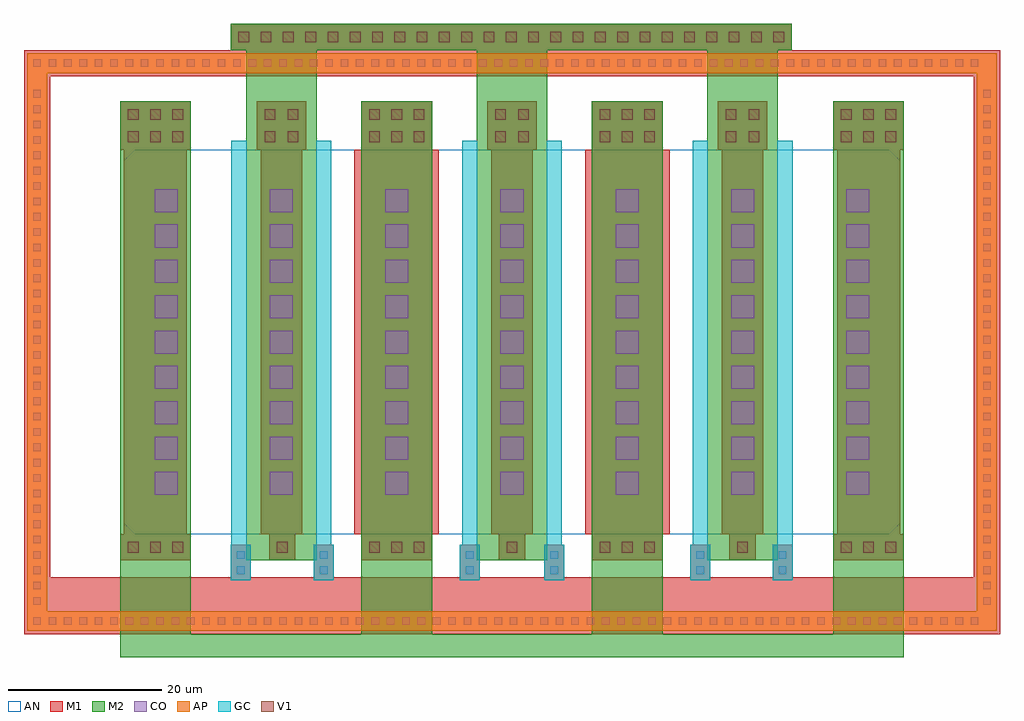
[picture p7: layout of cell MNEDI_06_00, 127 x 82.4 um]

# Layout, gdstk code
import gdstk
lib = gdstk.Library(unit=1e-6, precision=1e-09)
def R(c, l, rs):  # rectangles x0, y0, x1, y1
    for r in rs: c.add(gdstk.rectangle(r[:2], r[2:], *l))
def A(c, l, x, y, w, h, nx, ny, dx, dy):  # array of equal rectangles
    R(c, l, [(x+i*dx, y+j*dy, x+i*dx+w, y+j*dy+h) for i in range(nx) for j in range(ny)])
def P(c, l, *ps):  # polygons
    for p in ps: c.add(gdstk.Polygon(p, *l))
AP = (3, 1)
AN = (3, 2)
GC = (8, 1)
CO = (11, 0)
M1 = (13, 0)
V1 = (19, 0)
M2 = (20, 0)

wlmn_cdns_696586926132 = lib.new_cell('WLMN_CDNS_696586926132')

tc14_cdns_696586926130 = lib.new_cell('TC14_CDNS_696586926130')
R(tc14_cdns_696586926130, M1, [(-36.5,-1.7,36.5,1.7)])
A(tc14_cdns_696586926130, V1, -35.5, -0.7, 1.4, 1.4, 25, 1, 2.9, 0)
R(tc14_cdns_696586926130, M2, [(-36.5,-1.7,36.5,1.7)])

tc14_cdns_696586926131 = lib.new_cell('TC14_CDNS_696586926131')
R(tc14_cdns_696586926131, M1, [(-4.6,-3.1,4.6,3.2)])
A(tc14_cdns_696586926131, V1, -3.6, -2.1, 1.4, 1.4, 3, 2, 2.9, 2.9)
R(tc14_cdns_696586926131, M2, [(-4.6,-3.1,4.6,3.2)])

tc14_cdns_696586926132 = lib.new_cell('TC14_CDNS_696586926132')
R(tc14_cdns_696586926132, M1, [(-1.7,-3.1,1.7,3.2)])
R(tc14_cdns_696586926132, V1, [(-0.7,-2.1,0.7,-0.7), (-0.7,0.8,0.7,2.2)])
R(tc14_cdns_696586926132, M2, [(-1.7,-3.1,1.7,3.2)])

tc14_cdns_696586926133 = lib.new_cell('TC14_CDNS_696586926133')
R(tc14_cdns_696586926133, M1, [(-4.6,-1.7,4.6,1.7)])
A(tc14_cdns_696586926133, V1, -3.6, -0.7, 1.4, 1.4, 3, 1, 2.9, 0)
R(tc14_cdns_696586926133, M2, [(-4.6,-1.7,4.6,1.7)])

tc14_cdns_696586926134 = lib.new_cell('TC14_CDNS_696586926134')
R(tc14_cdns_696586926134, M1, [(-1.7,-1.7,1.7,1.7)])
R(tc14_cdns_696586926134, V1, [(-0.7,-0.7,0.7,0.7)])
R(tc14_cdns_696586926134, M2, [(-1.7,-1.7,1.7,1.7)])

sgct_cdns_696586926135 = lib.new_cell('SGCT_CDNS_696586926135')
R(sgct_cdns_696586926135, GC, [(-1.3,-2.3,1.3,2.3)])
R(sgct_cdns_696586926135, CO, [(-0.5,-1.5,0.5,-0.5), (-0.5,0.5,0.5,1.5)])
R(sgct_cdns_696586926135, M1, [(-1.3,-2.3,1.3,2.3)])

mnedi_06_00 = lib.new_cell('MNEDI_06_00')
P(mnedi_06_00, AP, [(5,5),(5,77.6),(7.6,77.6),(7.6,7.6),(128.6,7.6),(128.6,77.6),(5,77.6),(5,80.2),(131.2,80.2),(131.2,5)])
P(mnedi_06_00, AN, [(19,17.6),(17.6,19),(17.6,66.2),(19,67.6),(117.2,67.6),(118.6,66.2),(118.6,19),(117.2,17.6)],
  [(19,17.6),(17.6,19),(17.6,66.2),(19,67.6),(117.2,67.6),(118.6,66.2),(118.6,19),(117.2,17.6)])
R(mnedi_06_00, GC, [(31.6,16.2,33.6,68.8), (42.6,16.2,44.6,68.8), (61.6,16.2,63.6,68.8), (72.6,16.2,74.6,68.8), (91.6,16.2,93.6,68.8), (102.6,16.2,104.6,68.8)])
A(mnedi_06_00, CO, 5.8, 5.8, 1, 1, 62, 2, 2, 72.6)
A(mnedi_06_00, CO, 5.8, 8.4, 1, 1, 1, 34, 0, 2)
A(mnedi_06_00, CO, 129.4, 8.4, 1, 1, 1, 34, 0, 2)
A(mnedi_06_00, CO, 21.6, 22.7, 3, 3, 1, 9, 0, 4.6)
A(mnedi_06_00, CO, 111.6, 22.7, 3, 3, 1, 9, 0, 4.6)
R(mnedi_06_00, CO, [(36.6,22.7,39.6,25.7), (36.6,22.7,39.6,25.7), (51.6,22.7,54.6,25.7), (51.6,22.7,54.6,25.7), (66.6,22.7,69.6,25.7), (66.6,22.7,69.6,25.7), (81.6,22.7,84.6,25.7), (81.6,22.7,84.6,25.7), (96.6,22.7,99.6,25.7), (96.6,22.7,99.6,25.7), (36.6,27.3,39.6,30.3), (36.6,27.3,39.6,30.3), (51.6,27.3,54.6,30.3), (51.6,27.3,54.6,30.3), (66.6,27.3,69.6,30.3), (66.6,27.3,69.6,30.3), (81.6,27.3,84.6,30.3), (81.6,27.3,84.6,30.3), (96.6,27.3,99.6,30.3), (96.6,27.3,99.6,30.3), (36.6,31.9,39.6,34.9), (36.6,31.9,39.6,34.9), (51.6,31.9,54.6,34.9), (51.6,31.9,54.6,34.9), (66.6,31.9,69.6,34.9), (66.6,31.9,69.6,34.9), (81.6,31.9,84.6,34.9), (81.6,31.9,84.6,34.9), (96.6,31.9,99.6,34.9), (96.6,31.9,99.6,34.9), (36.6,36.5,39.6,39.5), (36.6,36.5,39.6,39.5), (51.6,36.5,54.6,39.5), (51.6,36.5,54.6,39.5), (66.6,36.5,69.6,39.5), (66.6,36.5,69.6,39.5), (81.6,36.5,84.6,39.5), (81.6,36.5,84.6,39.5), (96.6,36.5,99.6,39.5), (96.6,36.5,99.6,39.5), (36.6,41.1,39.6,44.1), (36.6,41.1,39.6,44.1), (51.6,41.1,54.6,44.1), (51.6,41.1,54.6,44.1), (66.6,41.1,69.6,44.1), (66.6,41.1,69.6,44.1), (81.6,41.1,84.6,44.1), (81.6,41.1,84.6,44.1), (96.6,41.1,99.6,44.1), (96.6,41.1,99.6,44.1), (36.6,45.7,39.6,48.7), (36.6,45.7,39.6,48.7), (51.6,45.7,54.6,48.7), (51.6,45.7,54.6,48.7), (66.6,45.7,69.6,48.7), (66.6,45.7,69.6,48.7), (81.6,45.7,84.6,48.7), (81.6,45.7,84.6,48.7), (96.6,45.7,99.6,48.7), (96.6,45.7,99.6,48.7), (36.6,50.3,39.6,53.3), (36.6,50.3,39.6,53.3), (51.6,50.3,54.6,53.3), (51.6,50.3,54.6,53.3), (66.6,50.3,69.6,53.3), (66.6,50.3,69.6,53.3), (81.6,50.3,84.6,53.3), (81.6,50.3,84.6,53.3), (96.6,50.3,99.6,53.3), (96.6,50.3,99.6,53.3), (36.6,54.9,39.6,57.9), (36.6,54.9,39.6,57.9), (51.6,54.9,54.6,57.9), (51.6,54.9,54.6,57.9), (66.6,54.9,69.6,57.9), (66.6,54.9,69.6,57.9), (81.6,54.9,84.6,57.9), (81.6,54.9,84.6,57.9), (96.6,54.9,99.6,57.9), (96.6,54.9,99.6,57.9), (36.6,59.5,39.6,62.5), (36.6,59.5,39.6,62.5), (51.6,59.5,54.6,62.5), (51.6,59.5,54.6,62.5), (66.6,59.5,69.6,62.5), (66.6,59.5,69.6,62.5), (81.6,59.5,84.6,62.5), (81.6,59.5,84.6,62.5), (96.6,59.5,99.6,62.5), (96.6,59.5,99.6,62.5)])
R(mnedi_06_00, M1, [(5,5,131.2,7.6), (5,7.6,7.6,77.6), (7.6,7.6,128.6,12), (128.6,7.6,131.2,77.6), (17.6,17.6,25.8,67.6), (35.4,17.6,40.8,67.6), (35.4,17.6,40.8,67.6), (47.6,17.6,55.8,67.6), (50.4,17.6,58.6,67.6), (65.4,17.6,70.8,67.6), (65.4,17.6,70.8,67.6), (77.6,17.6,85.8,67.6), (80.4,17.6,88.6,67.6), (95.4,17.6,100.8,67.6), (95.4,17.6,100.8,67.6), (110.4,17.6,118.6,67.6), (5,77.6,131.2,80.2)])
A(mnedi_06_00, M2, 33.5, 14.2, 9.2, 69.8, 3, 1, 30, 0)
R(mnedi_06_00, M2, [(17.1,1.6,26.3,73.9), (17.1,1.6,18.6,3.1), (48.5,1.6,57.7,73.9), (78.5,1.6,87.7,73.9), (109.9,1.6,119.1,73.9), (31.5,83,32.5,84)])
mnedi_06_00.add(gdstk.FlexPath([(103.3,12.9),(103.3,10.7),(32.8,10.7),(32.8,12.9)], 2.6, ends="flush", simple_path=True, layer=13, datatype=0))  # M1
mnedi_06_00.add(gdstk.FlexPath([(129.9,4.6),(129.9,80.6)], 3.4, ends="flush", simple_path=True, layer=13, datatype=0))  # M1
mnedi_06_00.add(gdstk.FlexPath([(6.3,4.6),(6.3,80.6)], 3.4, ends="flush", simple_path=True, layer=13, datatype=0))  # M1
mnedi_06_00.add(gdstk.FlexPath([(4.6,78.9),(131.6,78.9)], 3.4, ends="flush", simple_path=True, layer=13, datatype=0))  # M1
mnedi_06_00.add(gdstk.FlexPath([(4.6,6.3),(131.6,6.3)], 3.4, ends="flush", simple_path=True, layer=13, datatype=0))  # M1
mnedi_06_00.add(gdstk.FlexPath([(119.1,3.1),(17.1,3.1)], 3, ends="flush", simple_path=True, layer=20, datatype=0))  # M2
mnedi_06_00.add(gdstk.Reference(wlmn_cdns_696586926132, (0,0)))
mnedi_06_00.add(gdstk.Reference(tc14_cdns_696586926130, (68,82.3)))
mnedi_06_00.add(gdstk.Reference(tc14_cdns_696586926131, (114.5,70.7)))
mnedi_06_00.add(gdstk.Reference(tc14_cdns_696586926131, (83.1,70.7)))
mnedi_06_00.add(gdstk.Reference(tc14_cdns_696586926131, (53.1,70.7)))
mnedi_06_00.add(gdstk.Reference(tc14_cdns_696586926131, (21.7,70.7)))
mnedi_06_00.add(gdstk.Reference(tc14_cdns_696586926132, (99.6,70.7)))
mnedi_06_00.add(gdstk.Reference(tc14_cdns_696586926132, (96.6,70.7)))
mnedi_06_00.add(gdstk.Reference(tc14_cdns_696586926132, (69.6,70.7)))
mnedi_06_00.add(gdstk.Reference(tc14_cdns_696586926132, (66.6,70.7)))
mnedi_06_00.add(gdstk.Reference(tc14_cdns_696586926132, (39.6,70.7)))
mnedi_06_00.add(gdstk.Reference(tc14_cdns_696586926132, (36.6,70.7)))
mnedi_06_00.add(gdstk.Reference(tc14_cdns_696586926133, (114.5,15.9)))
mnedi_06_00.add(gdstk.Reference(tc14_cdns_696586926133, (83.1,15.9)))
mnedi_06_00.add(gdstk.Reference(tc14_cdns_696586926133, (53.1,15.9)))
mnedi_06_00.add(gdstk.Reference(tc14_cdns_696586926133, (21.7,15.9)))
mnedi_06_00.add(gdstk.Reference(tc14_cdns_696586926134, (98.1,15.9)))
mnedi_06_00.add(gdstk.Reference(tc14_cdns_696586926134, (68.1,15.9)))
mnedi_06_00.add(gdstk.Reference(tc14_cdns_696586926134, (38.2,15.9)))
mnedi_06_00.add(gdstk.Reference(sgct_cdns_696586926135, (103.3,13.9)))
mnedi_06_00.add(gdstk.Reference(sgct_cdns_696586926135, (92.6,13.9)))
mnedi_06_00.add(gdstk.Reference(sgct_cdns_696586926135, (73.6,13.9)))
mnedi_06_00.add(gdstk.Reference(sgct_cdns_696586926135, (62.6,13.9)))
mnedi_06_00.add(gdstk.Reference(sgct_cdns_696586926135, (43.6,13.9)))
mnedi_06_00.add(gdstk.Reference(sgct_cdns_696586926135, (32.8,13.9)))

lib.write_gds('MNEDI_06_00.gds')
